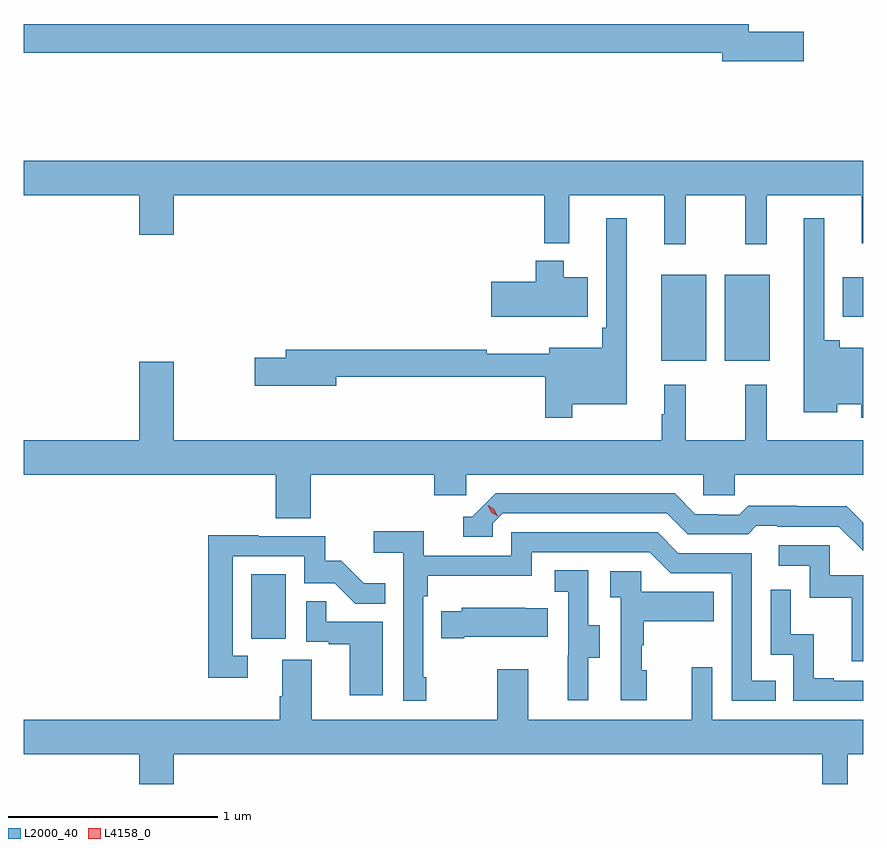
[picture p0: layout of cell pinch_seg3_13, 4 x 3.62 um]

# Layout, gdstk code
import gdstk
lib = gdstk.Library(unit=1e-6, precision=1e-09)
def R(c, l, rs):  # rectangles x0, y0, x1, y1
    for r in rs: c.add(gdstk.rectangle(r[:2], r[2:], *l))
def P(c, l, *ps):  # polygons
    for p in ps: c.add(gdstk.Polygon(p, *l))
L2000_40 = (2000, 40)
L4158_0 = (4158, 0)

pinch_seg3_13 = lib.new_cell('pinch_seg3_13')
R(pinch_seg3_13, L2000_40, [(1124.582,734.766,1124.746,735.073), (1126.535,736.091,1126.75,736.501), (1126.838,736.091,1127.053,736.501), (1127.402,736.301,1127.498,736.489)])
P(pinch_seg3_13, L2000_40, [(1127.215,737.66),(1126.954,737.66),(1126.954,737.696),(1123.498,737.696),(1123.498,737.56),(1126.826,737.56),(1126.826,737.518),(1127.215,737.518)],
  [(1126.652,736.88),(1126.936,736.88),(1126.936,736.647),(1127.039,736.647),(1127.039,736.88),(1127.492,736.88),(1127.492,736.652),(1127.498,736.652),(1127.498,737.044),(1123.498,737.044),(1123.498,736.88),(1124.048,736.88),(1124.048,736.692),(1124.212,736.692),(1124.212,736.88),(1125.979,736.88),(1125.979,736.652),(1126.097,736.652),(1126.097,736.88),(1126.55,736.88),(1126.55,736.647),(1126.652,736.647)],
  [(1127.498,736.153),(1127.387,736.153),(1127.387,736.189),(1127.313,736.189),(1127.313,736.771),(1127.216,736.771),(1127.216,735.845),(1127.374,735.845),(1127.374,735.884),(1127.49,735.884),(1127.49,735.819),(1127.498,735.819)],
  [(1126.111,735.884),(1126.372,735.884),(1126.372,736.771),(1126.275,736.771),(1126.275,736.249),(1126.255,736.249),(1126.255,736.153),(1126.001,736.153),(1126.001,736.123),(1125.705,736.123),(1125.705,736.142),(1124.747,736.142),(1124.747,736.106),(1124.598,736.106),(1124.598,735.971),(1124.986,735.971),(1124.986,736.014),(1125.982,736.014),(1125.982,735.819),(1126.111,735.819)],
  [(1126.186,736.489),(1126.072,736.489),(1126.072,736.567),(1125.938,736.567),(1125.938,736.467),(1125.726,736.467),(1125.726,736.301),(1126.186,736.301)],
  [(1124.212,736.087),(1124.048,736.087),(1124.048,735.712),(1123.498,735.712),(1123.498,735.548),(1124.699,735.548),(1124.699,735.34),(1124.864,735.34),(1124.864,735.548),(1125.455,735.548),(1125.455,735.45),(1125.606,735.45),(1125.606,735.548),(1126.737,735.548),(1126.737,735.45),(1126.887,735.45),(1126.887,735.548),(1127.498,735.548),(1127.498,735.712),(1127.038,735.712),(1127.038,735.976),(1126.936,735.976),(1126.936,735.712),(1126.652,735.712),(1126.652,735.976),(1126.55,735.976),(1126.55,735.836),(1126.539,735.836),(1126.539,735.712),(1124.212,735.712)],
  [(1127.498,735.319),(1127.42,735.397),(1127.184,735.397),(1127.184,735.4),(1126.951,735.4),(1126.909,735.357),(1126.806,735.357),(1126.806,735.36),(1126.699,735.36),(1126.6,735.459),(1125.747,735.459),(1125.636,735.348),(1125.593,735.348),(1125.593,735.252),(1125.732,735.252),(1125.732,735.315),(1125.78,735.363),(1126.563,735.363),(1126.662,735.264),(1126.951,735.264),(1126.99,735.303),(1127.089,735.303),(1127.089,735.3),(1127.382,735.3),(1127.498,735.184)],
  [(1125.415,734.581),(1125.402,734.581),(1125.402,734.969),(1125.422,734.969),(1125.422,735.065),(1125.918,735.065),(1125.918,735.177),(1126.482,735.177),(1126.581,735.078),(1126.872,735.078),(1126.872,734.469),(1127.081,734.469),(1127.081,734.565),(1126.968,734.565),(1126.968,735.174),(1126.618,735.174),(1126.519,735.273),(1125.822,735.273),(1125.822,735.162),(1125.404,735.162),(1125.404,735.278),(1125.165,735.278),(1125.165,735.176),(1125.306,735.176),(1125.306,734.469),(1125.415,734.469)],
  [(1124.566,734.685),(1124.493,734.685),(1124.493,735.159),(1124.835,735.159),(1124.835,735.03),(1124.979,735.03),(1125.077,734.932),(1125.221,734.932),(1125.221,735.031),(1125.117,735.031),(1125.01,735.138),(1124.934,735.138),(1124.934,735.255),(1124.615,735.255),(1124.615,735.26),(1124.377,735.26),(1124.377,734.58),(1124.566,734.58)],
  [(1127.498,735.069),(1127.34,735.069),(1127.34,735.21),(1127.097,735.21),(1127.097,735.114),(1127.244,735.114),(1127.244,734.961),(1127.443,734.961),(1127.443,734.658),(1127.498,734.658)],
  [(1126.189,734.674),(1126.243,734.674),(1126.243,734.829),(1126.188,734.829),(1126.188,735.092),(1126.029,735.092),(1126.029,734.989),(1126.092,734.989),(1126.092,734.685),(1126.091,734.685),(1126.091,734.472),(1126.189,734.472)],
  [(1126.468,734.616),(1126.443,734.616),(1126.443,734.735),(1126.453,734.735),(1126.453,734.849),(1126.787,734.849),(1126.787,734.989),(1126.44,734.989),(1126.44,735.087),(1126.293,735.087),(1126.293,734.963),(1126.344,734.963),(1126.344,734.472),(1126.468,734.472)],
  [(1127.498,734.565),(1127.359,734.565),(1127.359,734.578),(1127.264,734.578),(1127.264,734.786),(1127.154,734.786),(1127.154,734.998),(1127.058,734.998),(1127.058,734.688),(1127.166,734.688),(1127.166,734.469),(1127.498,734.469)],
  [(1125.208,734.847),(1124.939,734.847),(1124.939,734.945),(1124.844,734.945),(1124.844,734.751),(1124.951,734.751),(1124.951,734.739),(1125.05,734.739),(1125.05,734.496),(1125.208,734.496)],
  [(1125.598,734.774),(1125.995,734.774),(1125.995,734.911),(1125.887,734.911),(1125.887,734.914),(1125.585,734.914),(1125.585,734.896),(1125.487,734.896),(1125.487,734.767),(1125.598,734.767)],
  [(1124.212,734.216),(1127.304,734.216),(1127.304,734.073),(1127.425,734.073),(1127.425,734.216),(1127.498,734.216),(1127.498,734.38),(1126.779,734.38),(1126.779,734.629),(1126.682,734.629),(1126.682,734.38),(1125.901,734.38),(1125.901,734.62),(1125.754,734.62),(1125.754,734.38),(1124.869,734.38),(1124.869,734.666),(1124.729,734.666),(1124.729,734.492),(1124.717,734.492),(1124.717,734.38),(1123.498,734.38),(1123.498,734.216),(1124.048,734.216),(1124.048,734.073),(1124.212,734.073)])
P(pinch_seg3_13, L4158_0, [(1125.756,735.349),(1125.726,735.369),(1125.71,735.402),(1125.71,735.403),(1125.711,735.403),(1125.741,735.382),(1125.756,735.349),(1125.756,735.349)])

lib.write_gds('pinch_seg3_13.gds')
